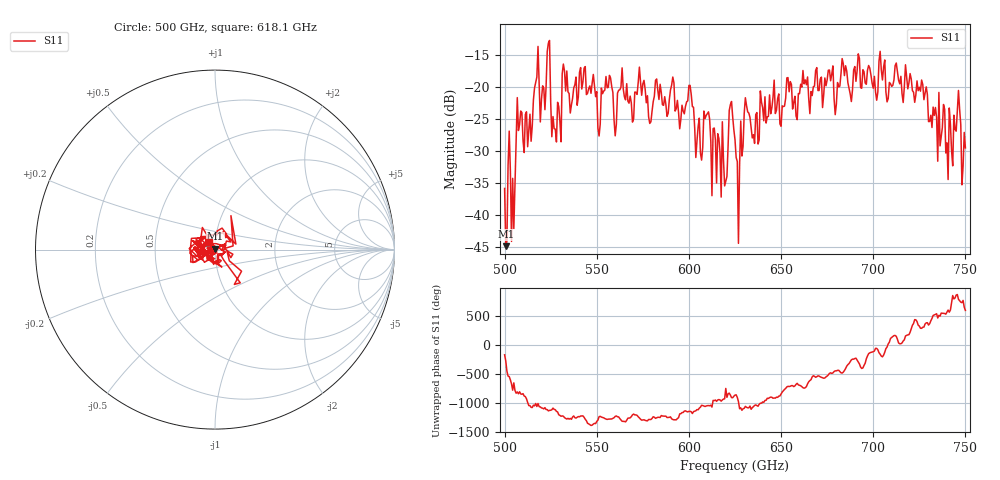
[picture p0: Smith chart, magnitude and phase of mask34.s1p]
!Created with skrf (http://scikit-rf.org).
# GHz S MA R 50.0
!freq magS11 angS11
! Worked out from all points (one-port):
!   401 points, 500 GHz to 750 GHz, reference 50 ohm
!   lowest |S11| = -44.9 dB at 500.6 GHz (marker M1), VSWR 1.01, Z = 50.1 + j0.56 ohm
!   |S11| at or under -10 dB: start of sweep to end of sweep
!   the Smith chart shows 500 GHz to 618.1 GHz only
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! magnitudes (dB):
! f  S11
! 500 GHz  -35.8
! 500.6 GHz  -44.9
! 505 GHz  -42.1
! 508.1 GHz  -25.8
! 513.8 GHz  -24.2
! 517.5 GHz  -18.4
! 520.6 GHz  -19.8
! 523.8 GHz  -13.1
! 526.9 GHz  -26.5
! 531.2 GHz  -17.9
! 542.5 GHz  -19.1
! 550.6 GHz  -26.4
! 556.2 GHz  -20.0
! 560 GHz  -27.6
! 562.5 GHz  -20.4
! 593.8 GHz  -22.1
! 601.2 GHz  -21.1
! 606.2 GHz  -30.3
! 609.4 GHz  -24.4
! 618.8 GHz  -31.4
! 623.1 GHz  -22.2
! 625 GHz  -28.2
! 626.2 GHz  -31.6
! 631.2 GHz  -22.9
! 656.2 GHz  -23.4
! 687.5 GHz  -21.0
! 718.8 GHz  -20.2
! 750 GHz  -29.5
